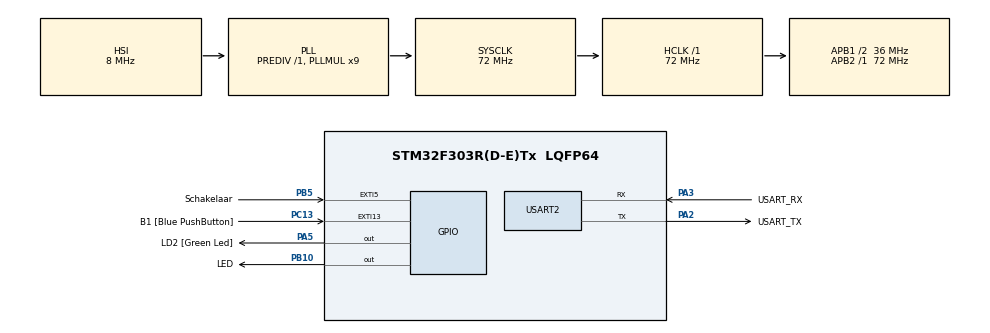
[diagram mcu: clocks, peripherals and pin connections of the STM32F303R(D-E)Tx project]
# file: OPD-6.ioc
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Mcu.Family=STM32F3
Mcu.Name=STM32F303R(D-E)Tx
Mcu.Package=LQFP64
NVIC.PriorityGroup=NVIC_PRIORITYGROUP_0
PA13.GPIO_Label=TMS
PA13.Mode=Serial_Wire
PA13.Signal=SYS_JTMS-SWDIO
PA14.GPIO_Label=TCK
PA14.Mode=Serial_Wire
PA14.Signal=SYS_JTCK-SWCLK
PA2.GPIO_Label=USART_TX
PA2.GPIO_Mode=GPIO_MODE_AF_PP
PA2.GPIO_PuPd=GPIO_NOPULL
PA2.GPIO_Speed=GPIO_SPEED_FREQ_LOW
PA2.Mode=Asynchronous
PA2.Signal=USART2_TX
PA3.GPIO_Label=USART_RX
PA3.GPIO_Mode=GPIO_MODE_AF_PP
PA3.GPIO_PuPd=GPIO_NOPULL
PA3.GPIO_Speed=GPIO_SPEED_FREQ_LOW
PA3.Mode=Asynchronous
PA3.Signal=USART2_RX
PA5.GPIO_Label=LD2 [Green Led]
PA5.GPIO_Mode=GPIO_MODE_OUTPUT_PP
PA5.GPIO_PuPd=GPIO_NOPULL
PA5.GPIO_Speed=GPIO_SPEED_FREQ_LOW
PA5.Signal=GPIO_Output
PB10.GPIO_Label=LED
PB10.Signal=GPIO_Output
PB3.GPIO_Label=SWO
PB3.Signal=SYS_JTDO-TRACESWO
PB5.GPIO_Label=Schakelaar
PB5.GPIO_ModeDefaultEXTI=GPIO_MODE_IT_FALLING
PB5.GPIO_PuPd=GPIO_PULLUP
PB5.Signal=GPXTI5
PC13.GPIO_Label=B1 [Blue PushButton]
PC13.GPIO_ModeDefaultEXTI=GPIO_MODE_IT_FALLING
PC13.Signal=GPXTI13
PC14-OSC32_IN.Mode=LSE-External-Oscillator
PC14-OSC32_IN.Signal=RCC_OSC32_IN
PC15-OSC32_OUT.Mode=LSE-External-Oscillator
PC15-OSC32_OUT.Signal=RCC_OSC32_OUT
PF0-OSC_IN.Mode=HSE-External-Clock-Source
PF0-OSC_IN.Signal=RCC_OSC_IN
PF1-OSC_OUT.Signal=RCC_OSC_OUT
ProjectManager.HeapSize=0x200
ProjectManager.StackSize=0x400
ProjectManager.TargetToolchain=STM32CubeIDE
RCC.AHBFreq_Value=72000000
RCC.APB1CLKDivider=RCC_HCLK_DIV2
RCC.APB1Freq_Value=36000000
RCC.APB1TimFreq_Value=72000000
RCC.APB2Freq_Value=72000000
RCC.APB2TimFreq_Value=72000000
RCC.CortexFreq_Value=72000000
RCC.HCLKFreq_Value=72000000
RCC.HSE_VALUE=8000000
RCC.HSI_VALUE=8000000
RCC.PLLM=8
RCC.PLLMUL=RCC_PLL_MUL9
RCC.PLLN=336
RCC.PLLP=RCC_PLLP_DIV4
RCC.PLLQ=7
RCC.RCC_PLLsource_Clock_Source_FROM_HSE=RCC_HSE_PREDIV_DIV2
RCC.SYSCLKFreq_VALUE=72000000
RCC.SYSCLKSourceVirtual=RCC_SYSCLKSOURCE_PLLCLK
RCC.USBFreq_Value=72000000
USART2.VirtualMode-Asynchronous=VM_ASYNC
board=NUCLEO-F303RE

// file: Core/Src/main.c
/* USER CODE BEGIN Header */
/**
  ******************************************************************************
  * @file           : main.c
  * @brief          : Main program body
  ******************************************************************************
  * @attention
  *
  * Copyright (c) 2026 STMicroelectronics.
  * All rights reserved.
  *
  * This software is licensed under terms that can be found in the LICENSE file
  * in the root directory of this software component.
  * If no LICENSE file comes with this software, it is provided AS-IS.
  *
  ******************************************************************************
  */
/* USER CODE END Header */
#include "main.h"

/* USER CODE BEGIN Includes */

#include <stdio.h>
#include <stdlib.h>

/* USER CODE END Includes */

UART_HandleTypeDef huart2;

/* USER CODE BEGIN PV */

int wachttijd = 1000;
volatile uint8_t schakelaar_event = 0;
volatile uint8_t wachttijd_uart_event = 0;
uint8_t rx_char;
char inlees[20] = {0};
uint8_t inlees_index = 0;

/* USER CODE END PV */

void SystemClock_Config(void);
static void MX_GPIO_Init(void);
static void MX_USART2_UART_Init(void);

int main(void)
{

  /* MCU Configuration--------------------------------------------------------*/

  /* Reset of all peripherals, Initializes the Flash interface and the Systick. */
  HAL_Init();

  /* Configure the system clock */
  SystemClock_Config();

  /* Initialize all configured peripherals */
  MX_GPIO_Init();
  MX_USART2_UART_Init();
  /* USER CODE BEGIN 2 */

  uint8_t tekst1[] = {"\n\r opgave 6\n\r"};
  HAL_UART_Transmit(&huart2, tekst1, sizeof(tekst1), HAL_MAX_DELAY);
  {
    uint8_t tekst2[] = {"Typ een wachttijd in ms en druk Enter (>=100)\n\r"};
    HAL_UART_Transmit(&huart2, tekst2, sizeof(tekst2), HAL_MAX_DELAY);
  }
  HAL_UART_Receive_IT(&huart2, &rx_char, 1);

  /* USER CODE END 2 */

  /* Infinite loop */
  /* USER CODE BEGIN WHILE */
  while (1)
  {
    HAL_GPIO_TogglePin(LED_GPIO_Port, LED_Pin);
    HAL_Delay(wachttijd);

    if (schakelaar_event)
    {
      schakelaar_event = 0;
      wachttijd -= 100;
    }
    if (wachttijd < 100)
    {
      wachttijd = 1000;
    }

    if (wachttijd_uart_event)
    {
      char melding[64];
      int len;

      wachttijd_uart_event = 0;
      len = snprintf(melding, sizeof(melding), "Nieuwe wachttijd: %d ms\n\r", wachttijd);
      if (len > 0)
      {
        HAL_UART_Transmit(&huart2, (uint8_t *)melding, (uint16_t)len, HAL_MAX_DELAY);
      }
    }

    /* USER CODE END WHILE */

  }
}

void SystemClock_Config(void)
{
  RCC_OscInitTypeDef RCC_OscInitStruct = {0};
  RCC_ClkInitTypeDef RCC_ClkInitStruct = {0};
  RCC_PeriphCLKInitTypeDef PeriphClkInit = {0};

  /** Initializes the RCC Oscillators according to the specified parameters
  * in the RCC_OscInitTypeDef structure.
  */
  RCC_OscInitStruct.OscillatorType = RCC_OSCILLATORTYPE_HSI;
  RCC_OscInitStruct.HSIState = RCC_HSI_ON;
  RCC_OscInitStruct.HSICalibrationValue = RCC_HSICALIBRATION_DEFAULT;
  RCC_OscInitStruct.PLL.PLLState = RCC_PLL_ON;
  RCC_OscInitStruct.PLL.PLLSource = RCC_PLLSOURCE_HSI;
  RCC_OscInitStruct.PLL.PLLMUL = RCC_PLL_MUL9;
  RCC_OscInitStruct.PLL.PREDIV = RCC_PREDIV_DIV1;
  if (HAL_RCC_OscConfig(&RCC_OscInitStruct) != HAL_OK)
  {
    Error_Handler();
  }

  /** Initializes the CPU, AHB and APB buses clocks
  */
  RCC_ClkInitStruct.ClockType = RCC_CLOCKTYPE_HCLK|RCC_CLOCKTYPE_SYSCLK
                              |RCC_CLOCKTYPE_PCLK1|RCC_CLOCKTYPE_PCLK2;
  RCC_ClkInitStruct.SYSCLKSource = RCC_SYSCLKSOURCE_PLLCLK;
  RCC_ClkInitStruct.AHBCLKDivider = RCC_SYSCLK_DIV1;
  RCC_ClkInitStruct.APB1CLKDivider = RCC_HCLK_DIV2;
  RCC_ClkInitStruct.APB2CLKDivider = RCC_HCLK_DIV1;

  if (HAL_RCC_ClockConfig(&RCC_ClkInitStruct, FLASH_LATENCY_2) != HAL_OK)
  {
    Error_Handler();
  }
  PeriphClkInit.PeriphClockSelection = RCC_PERIPHCLK_USART2;
  PeriphClkInit.Usart2ClockSelection = RCC_USART2CLKSOURCE_PCLK1;
  if (HAL_RCCEx_PeriphCLKConfig(&PeriphClkInit) != HAL_OK)
  {
    Error_Handler();
  }
}

static void MX_USART2_UART_Init(void)
{

  huart2.Instance = USART2;
  huart2.Init.BaudRate = 115200;
  huart2.Init.WordLength = UART_WORDLENGTH_8B;
  huart2.Init.StopBits = UART_STOPBITS_1;
  huart2.Init.Parity = UART_PARITY_NONE;
  huart2.Init.Mode = UART_MODE_TX_RX;
  huart2.Init.HwFlowCtl = UART_HWCONTROL_NONE;
  huart2.Init.OverSampling = UART_OVERSAMPLING_16;
  huart2.Init.OneBitSampling = UART_ONE_BIT_SAMPLE_DISABLE;
  huart2.AdvancedInit.AdvFeatureInit = UART_ADVFEATURE_NO_INIT;
  if (HAL_UART_Init(&huart2) != HAL_OK)
  {
    Error_Handler();
  }
  /* USER CODE BEGIN USART2_Init 2 */

  HAL_NVIC_SetPriority(USART2_IRQn, 0, 0);
  HAL_NVIC_EnableIRQ(USART2_IRQn);

  /* USER CODE END USART2_Init 2 */

}

static void MX_GPIO_Init(void)
{
  GPIO_InitTypeDef GPIO_InitStruct = {0};

  /* GPIO Ports Clock Enable */
  __HAL_RCC_GPIOC_CLK_ENABLE();
  __HAL_RCC_GPIOF_CLK_ENABLE();
  __HAL_RCC_GPIOA_CLK_ENABLE();
  __HAL_RCC_GPIOB_CLK_ENABLE();

  /*Configure GPIO pin Output Level */
  HAL_GPIO_WritePin(LD2_GPIO_Port, LD2_Pin, GPIO_PIN_RESET);

  /*Configure GPIO pin Output Level */
  HAL_GPIO_WritePin(LED_GPIO_Port, LED_Pin, GPIO_PIN_RESET);

  /*Configure GPIO pin : B1_Pin */
  GPIO_InitStruct.Pin = B1_Pin;
  GPIO_InitStruct.Mode = GPIO_MODE_IT_FALLING;
  GPIO_InitStruct.Pull = GPIO_NOPULL;
  HAL_GPIO_Init(B1_GPIO_Port, &GPIO_InitStruct);

  /*Configure GPIO pin : LD2_Pin */
  GPIO_InitStruct.Pin = LD2_Pin;
  GPIO_InitStruct.Mode = GPIO_MODE_OUTPUT_PP;
  GPIO_InitStruct.Pull = GPIO_NOPULL;
  GPIO_InitStruct.Speed = GPIO_SPEED_FREQ_LOW;
  HAL_GPIO_Init(LD2_GPIO_Port, &GPIO_InitStruct);

  /*Configure GPIO pin : LED_Pin */
  GPIO_InitStruct.Pin = LED_Pin;
  GPIO_InitStruct.Mode = GPIO_MODE_OUTPUT_PP;
  GPIO_InitStruct.Pull = GPIO_NOPULL;
  GPIO_InitStruct.Speed = GPIO_SPEED_FREQ_LOW;
  HAL_GPIO_Init(LED_GPIO_Port, &GPIO_InitStruct);

  /*Configure GPIO pin : Schakelaar_Pin */
  GPIO_InitStruct.Pin = Schakelaar_Pin;
  GPIO_InitStruct.Mode = GPIO_MODE_IT_FALLING;
  GPIO_InitStruct.Pull = GPIO_PULLUP;
  HAL_GPIO_Init(Schakelaar_GPIO_Port, &GPIO_InitStruct);

  /* EXTI interrupt init*/
  HAL_NVIC_SetPriority(EXTI15_10_IRQn, 0, 0);
  HAL_NVIC_EnableIRQ(EXTI15_10_IRQn);

  /* USER CODE BEGIN MX_GPIO_Init_2 */

  HAL_NVIC_SetPriority(EXTI9_5_IRQn, 0, 0);
  HAL_NVIC_EnableIRQ(EXTI9_5_IRQn);

  /* USER CODE END MX_GPIO_Init_2 */
}

/* USER CODE BEGIN 4 */

void HAL_GPIO_EXTI_Callback(uint16_t GPIO_Pin)
{
  if (GPIO_Pin == Schakelaar_Pin)
  {
    schakelaar_event = 1;
  }
  else
  {
    __NOP();
  }
}

void HAL_UART_RxCpltCallback(UART_HandleTypeDef *huart)
{
  if (huart->Instance == USART2)
  {
    if ((rx_char == '\r') || (rx_char == '\n'))
    {
      if (inlees_index > 0)
      {
        int nieuw_getal;

        inlees[inlees_index] = '\0';
        nieuw_getal = atoi(inlees);
        if (nieuw_getal >= 100)
        {
          wachttijd = nieuw_getal;
          wachttijd_uart_event = 1;
        }
        inlees_index = 0;
      }
    }
    else if ((rx_char >= '0') && (rx_char <= '9'))
    {
      if (inlees_index < (sizeof(inlees) - 1))
      {
        inlees[inlees_index++] = (char)rx_char;
      }
    }

    HAL_UART_Receive_IT(&huart2, &rx_char, 1);
  }
}

/* USER CODE END 4 */

void Error_Handler(void)
{
  __disable_irq();
  while (1)
  {
  }
}
